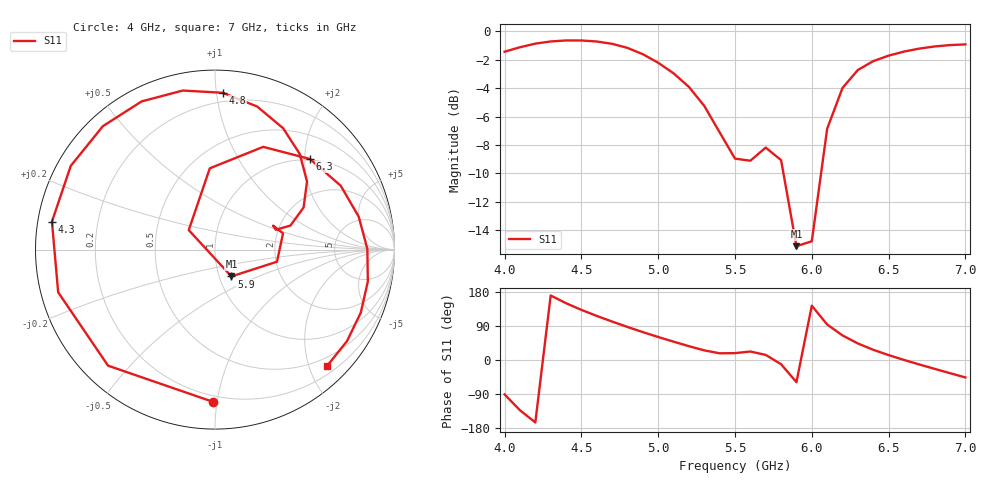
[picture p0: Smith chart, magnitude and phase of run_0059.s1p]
! Touchstone file exported from HFSS 2024.2.0
!  File:  C:/Users/wsak9/Desktop/Sim Fast/Widenad Patch/WP_AI_V1_sweep.aedt
!  Generated:  05:23:36 PM Oct 13, 2026
!  Design:  A1_model
!  Project:  WP_AI_V1_sweep
!  Setup:  Setup1
!  Solution:  Sweep
! Variables:
!  Air_gap = 3.43mm
!  Curve_Amp1 = 3.47
!  Curve_len1 = 1
!  Curve_pos = 10.905mm
!  Extra = 4.3mm
!  H_sub = 0.79mm
!  L_Patch = 17.81mm
!  L_Patch1 = 17.2mm
!  Sx = 4.16mm
!  Sy = 3.45mm
!  WS = 0.5mm
!  W_Patch = 17.19mm
!  W_Patch1 = 12.9mm
!Data is not renormalized
# GHz S MA
! Terminal data exported
! Port[1] = 1
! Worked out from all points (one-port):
!   31 points, 4 GHz to 7 GHz, reference per port
!   lowest |S11| = -15.1 dB at 5.9 GHz (marker M1), VSWR 1.42
!   |S11| at or under -10 dB: 5.815 GHz to 6.06 GHz (245.1 MHz wide, 4.13 % of centre)
!   S11 on the Smith chart (normalised r, x): 4 GHz: 0.16, -0.97; 4.3 GHz: 0.04, +0.08; 4.8 GHz: 0.14, +1.04; 5.9 GHz: 1.14, -0.35; 6.3 GHz: 0.98, +2.12; 7 GHz: 0.34, -2.31
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4  0.8481 -90.8
4.1  0.8793 -132.7
4.2  0.9055 -164.8
4.3  0.9217 170.3
4.4  0.9292 149.9
4.5  0.9291 132.3
4.6  0.9213 116.3
4.7  0.9042 101.4
4.8  0.8747 87.2
5  0.7755 60.7
5.1  0.7118 48.4
5.2  0.6375 36.5
5.3  0.5463 25.4
5.4  0.441 17.7
5.5  0.3563 18.1
5.6  0.3503 22.4
5.7  0.3897 13.4
5.8  0.3519 -11.1
5.9  0.1751 -58.5
6  0.1822 143.4
6.1  0.4539 93.7
6.2  0.6323 64.9
6.3  0.7313 43.7
6.4  0.7857 26.9
6.5  0.8215 12.9
6.7  0.8698 -11.8
6.8  0.885 -23.4
7  0.9 -46.0
